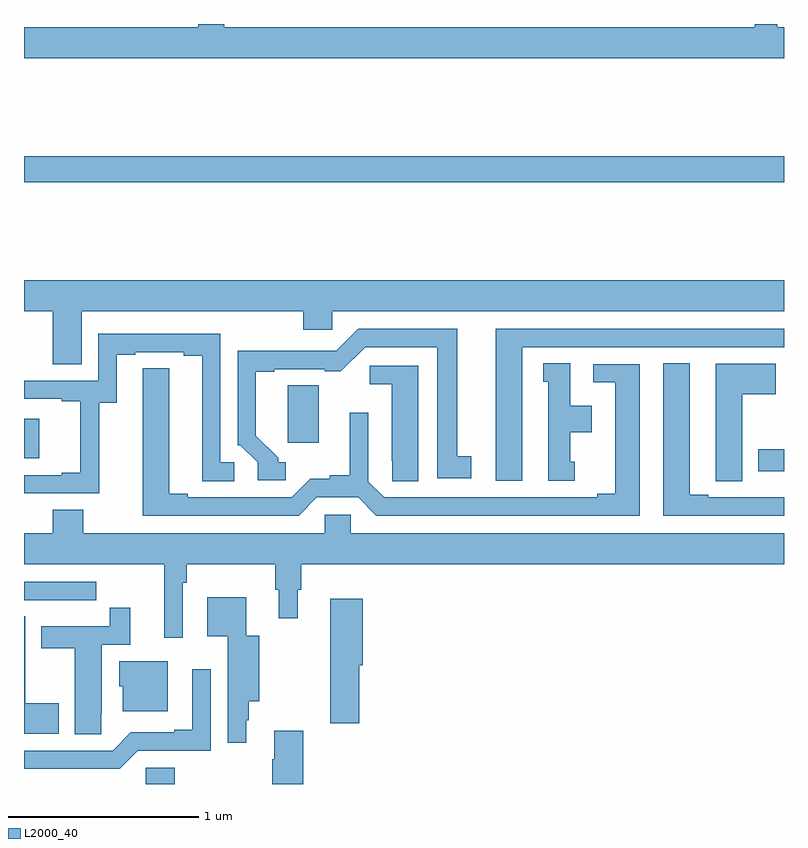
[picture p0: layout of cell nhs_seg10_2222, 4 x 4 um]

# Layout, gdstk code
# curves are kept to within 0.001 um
import gdstk
lib = gdstk.Library(unit=1e-6, precision=1e-09)
def R(c, l, rs):  # rectangles x0, y0, x1, y1
    for r in rs: c.add(gdstk.rectangle(r[:2], r[2:], *l))
def P(c, l, *ps):  # polygons
    for p in ps: c.add(gdstk.Polygon(p, *l))
L2000_40 = (2000, 40)

nhs_seg10_2222 = lib.new_cell('nhs_seg10_2222')
R(nhs_seg10_2222, L2000_40, [(229.641,1292.5,229.793,1292.586), (232.865,1294.146,233,1294.263), (229,1294.214,229.081,1294.423), (229,1295.668,233,1295.804)])
P(nhs_seg10_2222, L2000_40, [(233,1296.484),(232.964,1296.484),(232.964,1296.5),(232.847,1296.5),(232.847,1296.484),(230.055,1296.484),(230.055,1296.5),(229.917,1296.5),(229.917,1296.484),(229,1296.484),(229,1296.32),(233,1296.32)],
  [(229.303,1294.988),(230.471,1294.988),(230.471,1294.89),(230.622,1294.89),(230.622,1294.988),(233,1294.988),(233,1295.152),(229,1295.152),(229,1294.988),(229.151,1294.988),(229.151,1294.708),(229.303,1294.708)],
  [(231.622,1294.8),(233,1294.8),(233,1294.896),(231.482,1294.896),(231.482,1294.095),(231.622,1294.095)],
  [(230.377,1294.194),(230.338,1294.194),(230.338,1294.218),(230.221,1294.334),(230.221,1294.671),(230.317,1294.671),(230.317,1294.683),(230.582,1294.683),(230.582,1294.672),(230.668,1294.672),(230.796,1294.8),(231.176,1294.8),(231.176,1294.11),(231.355,1294.11),(231.355,1294.226),(231.28,1294.226),(231.28,1294.896),(230.76,1294.896),(230.643,1294.779),(230.387,1294.779),(230.387,1294.781),(230.124,1294.781),(230.124,1294.284),(230.139,1294.284),(230.229,1294.194),(230.229,1294.098),(230.377,1294.098)],
  [(229.395,1294.507),(229.489,1294.507),(229.489,1294.758),(229.585,1294.758),(229.585,1294.773),(229.841,1294.773),(229.841,1294.753),(229.937,1294.753),(229.937,1294.093),(230.107,1294.093),(230.107,1294.194),(230.034,1294.194),(230.034,1294.869),(229.392,1294.869),(229.392,1294.623),(229,1294.623),(229,1294.527),(229.199,1294.527),(229.199,1294.515),(229.295,1294.515),(229.295,1294.138),(229.199,1294.138),(229.199,1294.125),(229,1294.125),(229,1294.029),(229.395,1294.029)],
  [(231.898,1294.197),(231.874,1294.197),(231.874,1294.352),(231.988,1294.352),(231.988,1294.492),(231.874,1294.492),(231.874,1294.715),(231.734,1294.715),(231.734,1294.617),(231.758,1294.617),(231.758,1294.095),(231.898,1294.095)],
  [(233,1294.009),(232.876,1294.009),(232.876,1294.008),(232.6,1294.008),(232.6,1294.023),(232.504,1294.023),(232.504,1294.715),(232.364,1294.715),(232.364,1293.912),(233,1293.912)],
  [(232.78,1294.552),(232.957,1294.552),(232.957,1294.711),(232.64,1294.711),(232.64,1294.201),(232.641,1294.201),(232.641,1294.093),(232.78,1294.093)],
  [(230.541,1294.008),(230.759,1294.008),(230.855,1293.912),(232.24,1293.912),(232.24,1294.71),(231.996,1294.71),(231.996,1294.614),(232.112,1294.614),(232.112,1294.028),(232.016,1294.028),(232.016,1294.008),(230.895,1294.008),(230.811,1294.092),(230.811,1294.453),(230.714,1294.453),(230.714,1294.124),(230.61,1294.124),(230.61,1294.106),(230.507,1294.106),(230.409,1294.008),(229.861,1294.008),(229.861,1294.028),(229.765,1294.028),(229.765,1294.688),(229.626,1294.688),(229.625,1293.912),(230.445,1293.912)],
  [(231.076,1294.701),(230.82,1294.701),(230.82,1294.604),(230.936,1294.604),(230.936,1294.201),(230.937,1294.201),(230.937,1294.093),(231.076,1294.093)],
  [(230.551,1294.44),(230.55,1294.44),(230.55,1294.598),(230.387,1294.598),(230.387,1294.296),(230.551,1294.296)],
  [(229.311,1293.944),(229.151,1293.944),(229.151,1293.82),(229,1293.82),(229,1293.656),(229.739,1293.656),(229.739,1293.27),(229.836,1293.27),(229.836,1293.56),(229.856,1293.56),(229.856,1293.656),(230.323,1293.656),(230.323,1293.522),(230.342,1293.522),(230.342,1293.372),(230.44,1293.372),(230.44,1293.522),(230.459,1293.522),(230.459,1293.656),(233,1293.656),(233,1293.82),(230.721,1293.82),(230.721,1293.918),(230.583,1293.918),(230.583,1293.82),(229.311,1293.82)],
  [(229.268,1293.468),(229.381,1293.468),(229.381,1293.564),(229,1293.564),(229,1293.468),(229.102,1293.468),(229.102,1293.467),(229.268,1293.467)],
  [(230.17,1292.835),(230.182,1292.835),(230.182,1292.936),(230.238,1292.936),(230.238,1293.28),(230.17,1293.28),(230.17,1293.484),(229.964,1293.484),(229.964,1293.278),(230.072,1293.278),(230.072,1293.04),(230.073,1293.04),(230.073,1292.718),(230.17,1292.718)],
  [(230.765,1293.126),(230.783,1293.126),(230.783,1293.475),(230.612,1293.475),(230.612,1293.126),(230.611,1293.126),(230.611,1292.82),(230.765,1292.82)],
  [(229.407,1292.872),(229.408,1292.872),(229.408,1293.234),(229.559,1293.234),(229.559,1293.427),(229.45,1293.427),(229.45,1293.33),(229.091,1293.33),(229.091,1293.214),(229.268,1293.214),(229.268,1292.761),(229.407,1292.761)],
  [(229.183,1292.925),(229.006,1292.925),(229.006,1293.383),(229,1293.383),(229,1292.765),(229.183,1292.765)],
  [(229.756,1293.145),(229.502,1293.145),(229.502,1293.015),(229.52,1293.015),(229.52,1292.882),(229.756,1292.882)],
  [(229.599,1292.676),(229.983,1292.676),(229.983,1293.103),(229.886,1293.103),(229.886,1292.785),(229.79,1292.785),(229.79,1292.772),(229.563,1292.772),(229.467,1292.676),(229,1292.676),(229,1292.58),(229.503,1292.58)],
  [(230.471,1292.779),(230.318,1292.779),(230.318,1292.63),(230.306,1292.63),(230.306,1292.5),(230.471,1292.5)])

lib.write_gds('nhs_seg10_2222.gds')
